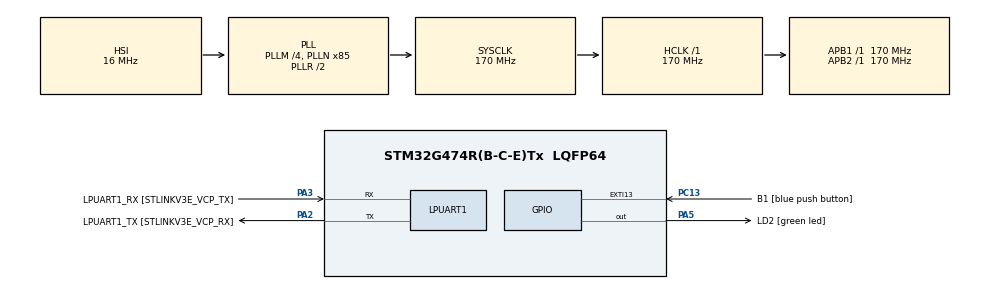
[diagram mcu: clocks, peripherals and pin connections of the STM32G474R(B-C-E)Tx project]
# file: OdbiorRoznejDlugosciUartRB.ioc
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Mcu.Family=STM32G4
Mcu.Name=STM32G474R(B-C-E)Tx
Mcu.Package=LQFP64
NVIC.EXTI15_10_IRQn=true\:0\:0\:false\:false\:true\:true\:true\:true
NVIC.LPUART1_IRQn=true\:0\:0\:false\:false\:true\:true\:true\:true
NVIC.PriorityGroup=NVIC_PRIORITYGROUP_4
PA13.GPIO_Label=T_SWDIO
PA13.Mode=Serial_Wire
PA13.Signal=SYS_JTMS-SWDIO
PA14.GPIO_Label=T_SWCLK
PA14.Mode=Serial_Wire
PA14.Signal=SYS_JTCK-SWCLK
PA2.GPIO_Label=LPUART1_TX [STLINKV3E_VCP_RX]
PA2.Mode=Asynchronous
PA2.Signal=LPUART1_TX
PA3.GPIO_Label=LPUART1_RX [STLINKV3E_VCP_TX]
PA3.Mode=Asynchronous
PA3.Signal=LPUART1_RX
PA5.GPIO_Label=LD2 [green led]
PA5.Signal=GPIO_Output
PB3.GPIO_Label=T_SWO
PB3.Signal=SYS_JTDO-SWO
PC13.GPIO_Label=B1 [blue push button]
PC13.Signal=GPXTI13
PC14-OSC32_IN.GPIO_Label=RCC_OSC32_IN
PC14-OSC32_IN.Mode=LSE-External-Oscillator
PC14-OSC32_IN.Signal=RCC_OSC32_IN
PC15-OSC32_OUT.GPIO_Label=RCC_OSC32_OUT
PC15-OSC32_OUT.Mode=LSE-External-Oscillator
PC15-OSC32_OUT.Signal=RCC_OSC32_OUT
PF0-OSC_IN.GPIO_Label=RCC_OSC_IN
PF0-OSC_IN.Mode=HSE-External-Oscillator
PF0-OSC_IN.Signal=RCC_OSC_IN
PF1-OSC_OUT.GPIO_Label=RCC_OSC_OUT
PF1-OSC_OUT.Mode=HSE-External-Oscillator
PF1-OSC_OUT.Signal=RCC_OSC_OUT
ProjectManager.HeapSize=0x200
ProjectManager.StackSize=0x400
ProjectManager.TargetToolchain=STM32CubeIDE
RCC.ADC12Freq_Value=170000000
RCC.ADC345Freq_Value=170000000
RCC.AHBFreq_Value=170000000
RCC.APB1Freq_Value=170000000
RCC.APB1TimFreq_Value=170000000
RCC.APB2Freq_Value=170000000
RCC.APB2TimFreq_Value=170000000
RCC.CortexFreq_Value=170000000
RCC.EXTERNAL_CLOCK_VALUE=12288000
RCC.HCLKFreq_Value=170000000
RCC.HSE_VALUE=24000000
RCC.HSI48_VALUE=48000000
RCC.HSI_VALUE=16000000
RCC.PLLM=RCC_PLLM_DIV4
RCC.PLLN=85
RCC.RTCClockSelection=RCC_RTCCLKSOURCE_LSE
RCC.SYSCLKFreq_VALUE=170000000
RCC.SYSCLKSource=RCC_SYSCLKSOURCE_PLLCLK
RCC.USBFreq_Value=170000000
RCC.VCOOutputFreq_Value=340000000
VP_SYS_VS_DBSignals.Mode=DisableDeadBatterySignals
board=NUCLEO-G474RE

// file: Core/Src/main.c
/* USER CODE BEGIN Header */
/**
  ******************************************************************************
  * @file           : main.c
  * @brief          : Main program body
  ******************************************************************************
  * @attention
  *
  * Copyright (c) 2025 STMicroelectronics.
  * All rights reserved.
  *
  * This software is licensed under terms that can be found in the LICENSE file
  * in the root directory of this software component.
  * If no LICENSE file comes with this software, it is provided AS-IS.
  *
  ******************************************************************************
  */
/* USER CODE END Header */
#include "main.h"
#include "usart.h"
#include "gpio.h"

/* USER CODE BEGIN Includes */
#include "ring_buffer.h"
#include <string.h>
#include "parser_simple.h"
#include "utils.h"
/* USER CODE END Includes */

TRingBuffer ReceiveBuffer;
uint8_t ReceiveTmp;
uint8_t ReceivedData[32];		//buffer to where we will read data from uart
uint8_t Tmp;
uint8_t ReceivedLines;

void SystemClock_Config(void);

int main(void)
{

  /* MCU Configuration--------------------------------------------------------*/

  /* Reset of all peripherals, Initializes the Flash interface and the Systick. */
  HAL_Init();

  /* Configure the system clock */
  SystemClock_Config();

  /* Initialize all configured peripherals */
  MX_GPIO_Init();
  MX_LPUART1_UART_Init();
  /* USER CODE BEGIN 2 */
  HAL_UART_Receive_IT(&hlpuart1, &ReceiveTmp, 1);
  /* USER CODE END 2 */

  /* Infinite loop */
  /* USER CODE BEGIN WHILE */
  while (1)
  {
	  if (ReceivedLines > 0)
	  {
		  ParserTakeLine(&ReceiveBuffer, ReceivedData);
		  ReceivedLines--;
		  ParserParse(ReceivedData);
	  }

	  //LED_OFF

    /* USER CODE END WHILE */

    /* USER CODE BEGIN `3 */
  }
  /* USER CODE END 3 */
}

void SystemClock_Config(void)
{
  RCC_OscInitTypeDef RCC_OscInitStruct = {0};
  RCC_ClkInitTypeDef RCC_ClkInitStruct = {0};

  /** Configure the main internal regulator output voltage
  */
  HAL_PWREx_ControlVoltageScaling(PWR_REGULATOR_VOLTAGE_SCALE1_BOOST);

  /** Initializes the RCC Oscillators according to the specified parameters
  * in the RCC_OscInitTypeDef structure.
  */
  RCC_OscInitStruct.OscillatorType = RCC_OSCILLATORTYPE_HSI;
  RCC_OscInitStruct.HSIState = RCC_HSI_ON;
  RCC_OscInitStruct.HSICalibrationValue = RCC_HSICALIBRATION_DEFAULT;
  RCC_OscInitStruct.PLL.PLLState = RCC_PLL_ON;
  RCC_OscInitStruct.PLL.PLLSource = RCC_PLLSOURCE_HSI;
  RCC_OscInitStruct.PLL.PLLM = RCC_PLLM_DIV4;
  RCC_OscInitStruct.PLL.PLLN = 85;
  RCC_OscInitStruct.PLL.PLLP = RCC_PLLP_DIV2;
  RCC_OscInitStruct.PLL.PLLQ = RCC_PLLQ_DIV2;
  RCC_OscInitStruct.PLL.PLLR = RCC_PLLR_DIV2;
  if (HAL_RCC_OscConfig(&RCC_OscInitStruct) != HAL_OK)
  {
    Error_Handler();
  }

  /** Initializes the CPU, AHB and APB buses clocks
  */
  RCC_ClkInitStruct.ClockType = RCC_CLOCKTYPE_HCLK|RCC_CLOCKTYPE_SYSCLK
                              |RCC_CLOCKTYPE_PCLK1|RCC_CLOCKTYPE_PCLK2;
  RCC_ClkInitStruct.SYSCLKSource = RCC_SYSCLKSOURCE_PLLCLK;
  RCC_ClkInitStruct.AHBCLKDivider = RCC_SYSCLK_DIV1;
  RCC_ClkInitStruct.APB1CLKDivider = RCC_HCLK_DIV1;
  RCC_ClkInitStruct.APB2CLKDivider = RCC_HCLK_DIV1;

  if (HAL_RCC_ClockConfig(&RCC_ClkInitStruct, FLASH_LATENCY_4) != HAL_OK)
  {
    Error_Handler();
  }
}

/* USER CODE BEGIN 4 */
void HAL_UART_RxCpltCallback(UART_HandleTypeDef *huart)
{
	if(huart->Instance == LPUART1)
	{
		if (RB_OK == RB_Write(&ReceiveBuffer, ReceiveTmp))
		{
			if (ReceiveTmp == ENDLINE)
			{
				ReceivedLines++;
			}
		}

		HAL_UART_Receive_IT(&hlpuart1, &ReceiveTmp, 1);
	}
}

/* USER CODE END 4 */

void Error_Handler(void)
{
  __disable_irq();
  while (1)
  {
  }
}
